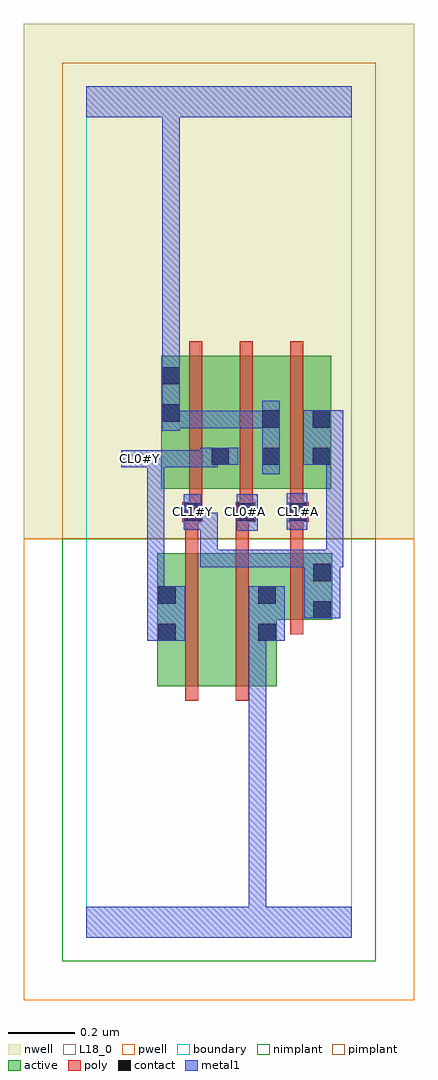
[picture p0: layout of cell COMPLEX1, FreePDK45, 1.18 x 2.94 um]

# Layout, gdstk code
import gdstk
lib = gdstk.Library(unit=1e-6, precision=1e-09)
def R(c, l, rs):  # rectangles x0, y0, x1, y1
    for r in rs: c.add(gdstk.rectangle(r[:2], r[2:], *l))
def A(c, l, x, y, w, h, nx, ny, dx, dy):  # array of equal rectangles
    R(c, l, [(x+i*dx, y+j*dy, x+i*dx+w, y+j*dy+h) for i in range(nx) for j in range(ny)])
active = (1, 0)
pwell = (2, 0)
nwell = (3, 0)
nimplant = (4, 0)
pimplant = (5, 0)
poly = (9, 0)
contact = (10, 0)
metal1 = (11, 0)
L18_0 = (18, 0)
boundary = (235, 0)

complex1 = lib.new_cell('COMPLEX1')
A(complex1, active, 0.374, 1.35, 0.06, 0.294, 3, 1, 0.152, 0)
R(complex1, active, [(0.214,0.756,0.274,1.156), (0.214,0.756,0.394,1.156), (0.394,0.756,0.574,1.156), (0.514,0.756,0.574,1.156), (0.514,0.956,0.74,1.156), (0.68,0.956,0.74,1.156), (0.226,1.35,0.434,1.75), (0.226,1.35,0.286,1.72), (0.374,1.35,0.586,1.75), (0.526,1.35,0.738,1.75)])
R(complex1, pwell, [(-0.188,-0.188,0.988,1.2)])
R(complex1, nwell, [(-0.188,1.2,0.988,2.748)])
R(complex1, nimplant, [(-0.072,-0.072,0.872,1.2)])
R(complex1, pimplant, [(-0.072,1.2,0.872,2.632)])
A(complex1, poly, 0.29, 1.25, 0.06, 0.06, 3, 1, 0.16, 0)
A(complex1, poly, 0.31, 1.27, 0.04, 0.076, 3, 1, 0.152, 0)
A(complex1, poly, 0.31, 1.306, 0.04, 0.488, 3, 1, 0.152, 0)
R(complex1, poly, [(0.298,0.712,0.338,1.2), (0.45,0.712,0.49,1.2), (0.614,0.912,0.654,1.2), (0.298,1.16,0.338,1.29), (0.45,1.16,0.49,1.29), (0.614,1.16,0.654,1.29), (0.45,1.25,0.49,1.29), (0.45,1.25,0.49,1.29), (0.614,1.25,0.654,1.29), (0.614,1.25,0.654,1.29), (0.31,1.27,0.35,1.31), (0.31,1.27,0.35,1.31)])
A(complex1, contact, 0.294, 1.254, 0.052, 0.052, 3, 1, 0.16, 0)
A(complex1, contact, 0.378, 1.422, 0.052, 0.052, 3, 1, 0.152, 0)
R(complex1, contact, [(0.218,0.892,0.27,0.944), (0.518,0.892,0.57,0.944), (0.684,0.96,0.736,1.012), (0.218,1.004,0.27,1.056), (0.518,1.004,0.57,1.056), (0.684,1.072,0.736,1.124), (0.53,1.534,0.582,1.586), (0.682,1.534,0.734,1.586), (0.23,1.552,0.282,1.604), (0.23,1.664,0.282,1.716)])
R(complex1, metal1, [(0,0,0.8,0.092), (0.49,0.04,0.542,0.092), (0.49,0.04,0.542,0.092), (0.49,0.04,0.542,0.092), (0.49,0.04,0.542,0.092), (0.49,0.04,0.542,0.092), (0.49,0.04,0.542,0.092), (0.49,0.04,0.542,0.092), (0.49,0.04,0.542,0.092), (0.49,0.04,0.542,0.944), (0.184,0.892,0.298,1.056), (0.49,0.892,0.542,0.944), (0.49,0.892,0.542,0.944), (0.49,0.892,0.542,0.944), (0.49,0.892,0.542,0.944), (0.49,0.892,0.598,1.056), (0.656,0.96,0.764,1.124), (0.184,1.004,0.236,1.466), (0.712,1.072,0.764,1.166), (0.344,1.114,0.506,1.166), (0.344,1.114,0.396,1.278), (0.454,1.114,0.506,1.166), (0.454,1.114,0.506,1.166), (0.454,1.114,0.506,1.166), (0.454,1.114,0.764,1.166), (0.712,1.114,0.764,1.166), (0.712,1.114,0.764,1.166), (0.712,1.114,0.774,1.166), (0.722,1.114,0.774,1.474), (0.454,1.224,0.516,1.334), (0.294,1.226,0.396,1.278), (0.294,1.226,0.346,1.334), (0.604,1.226,0.666,1.336), (0.53,1.394,0.582,1.614), (0.106,1.414,0.236,1.466), (0.184,1.414,0.236,1.466), (0.184,1.414,0.236,1.466), (0.184,1.414,0.236,1.466), (0.184,1.414,0.236,1.466), (0.184,1.414,0.396,1.466), (0.344,1.414,0.396,1.474), (0.344,1.422,0.396,1.474), (0.344,1.422,0.458,1.474), (0.654,1.422,0.774,1.586), (0.722,1.422,0.774,1.474), (0.722,1.422,0.774,1.474), (0.23,1.524,0.282,1.744), (0.23,1.532,0.392,1.584), (0.34,1.532,0.392,1.584), (0.34,1.532,0.392,1.584), (0.34,1.532,0.392,1.584), (0.34,1.532,0.546,1.584), (0.494,1.532,0.546,1.584), (0.494,1.532,0.582,1.584), (0.23,1.692,0.282,1.744), (0.23,1.692,0.282,1.744), (0.23,1.692,0.282,1.744), (0.23,1.692,0.282,1.744), (0.23,1.692,0.282,1.744), (0.23,1.692,0.282,1.744), (0.23,1.692,0.282,2.52), (0,2.468,0.8,2.56), (0.23,2.468,0.282,2.52), (0.23,2.468,0.282,2.52), (0.23,2.468,0.282,2.52), (0.23,2.468,0.282,2.52), (0.23,2.468,0.282,2.52), (0.23,2.468,0.282,2.52), (0.23,2.468,0.282,2.52), (0.23,2.468,0.282,2.52), (0.23,2.468,0.282,2.52), (0.23,2.468,0.282,2.52)])
A(complex1, L18_0, 0.294, 1.254, 0.052, 0.052, 3, 1, 0.16, 0)
R(complex1, L18_0, [(0,0,0.8,0.092), (0.49,0.04,0.542,0.092), (0.49,0.04,0.542,0.092), (0.49,0.04,0.542,0.092), (0.49,0.04,0.542,0.092), (0.49,0.04,0.542,0.092), (0.49,0.04,0.542,0.092), (0.49,0.04,0.542,0.092), (0.49,0.04,0.542,0.092), (0.49,0.04,0.542,0.944), (0.184,0.892,0.298,1.056), (0.49,0.892,0.542,0.944), (0.49,0.892,0.542,0.944), (0.49,0.892,0.542,0.944), (0.49,0.892,0.542,0.944), (0.49,0.892,0.598,1.056), (0.656,0.96,0.764,1.124), (0.184,1.004,0.236,1.466), (0.712,1.072,0.764,1.166), (0.344,1.114,0.506,1.166), (0.344,1.114,0.396,1.278), (0.454,1.114,0.506,1.166), (0.454,1.114,0.506,1.166), (0.454,1.114,0.506,1.166), (0.454,1.114,0.764,1.166), (0.712,1.114,0.764,1.166), (0.712,1.114,0.764,1.166), (0.712,1.114,0.774,1.166), (0.722,1.114,0.774,1.474), (0.454,1.224,0.516,1.334), (0.294,1.226,0.346,1.334), (0.294,1.226,0.396,1.278), (0.604,1.226,0.666,1.336), (0.53,1.394,0.582,1.614), (0.106,1.414,0.236,1.466), (0.134,1.414,0.186,1.466), (0.184,1.414,0.236,1.466), (0.184,1.414,0.236,1.466), (0.184,1.414,0.236,1.466), (0.184,1.414,0.236,1.466), (0.184,1.414,0.396,1.466), (0.344,1.414,0.396,1.474), (0.344,1.422,0.396,1.474), (0.344,1.422,0.458,1.474), (0.654,1.422,0.774,1.586), (0.722,1.422,0.774,1.474), (0.722,1.422,0.774,1.474), (0.23,1.524,0.282,1.744), (0.23,1.532,0.392,1.584), (0.34,1.532,0.392,1.584), (0.34,1.532,0.392,1.584), (0.34,1.532,0.392,1.584), (0.34,1.532,0.546,1.584), (0.494,1.532,0.546,1.584), (0.494,1.532,0.582,1.584), (0.23,1.692,0.282,1.744), (0.23,1.692,0.282,1.744), (0.23,1.692,0.282,1.744), (0.23,1.692,0.282,1.744), (0.23,1.692,0.282,1.744), (0.23,1.692,0.282,1.744), (0.23,1.692,0.282,2.52), (0,2.468,0.8,2.56), (0.23,2.468,0.282,2.52), (0.23,2.468,0.282,2.52), (0.23,2.468,0.282,2.52), (0.23,2.468,0.282,2.52), (0.23,2.468,0.282,2.52), (0.23,2.468,0.282,2.52), (0.23,2.468,0.282,2.52), (0.23,2.468,0.282,2.52), (0.23,2.468,0.282,2.52), (0.23,2.468,0.282,2.52)])
R(complex1, boundary, [(0,0,0.8,2.56)])
complex1.add(gdstk.Label('CL0#A', (0.48,1.28), layer=11, texttype=0))
complex1.add(gdstk.Label('CL0#Y', (0.16,1.44), layer=11, texttype=0))
complex1.add(gdstk.Label('CL1#A', (0.64,1.28), layer=11, texttype=0))
complex1.add(gdstk.Label('CL1#Y', (0.32,1.28), layer=11, texttype=0))

lib.write_gds('COMPLEX1.gds')
